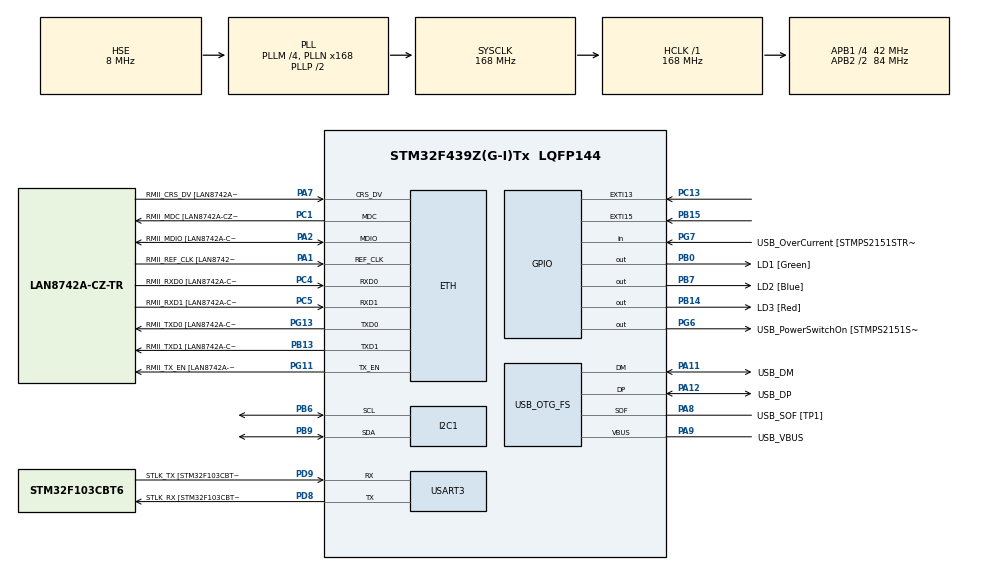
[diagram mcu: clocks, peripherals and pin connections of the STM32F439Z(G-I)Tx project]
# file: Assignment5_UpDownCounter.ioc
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ETH.MediaInterface=HAL_ETH_RMII_MODE
ETH.PHY_Name=LAN8742A_PHY_ADDRESS
ETH.PHY_Value=0
ETH.PhyAddress=0
Mcu.Family=STM32F4
Mcu.Name=STM32F439Z(G-I)Tx
Mcu.Package=LQFP144
NVIC.EXTI15_10_IRQn=true\:0\:0\:false\:false\:true\:true\:true\:true
NVIC.PriorityGroup=NVIC_PRIORITYGROUP_4
NVIC.TIM2_IRQn=true\:0\:0\:false\:false\:true\:true\:true\:true
PA1.GPIO_Label=RMII_REF_CLK [LAN8742A-CZ-TR_REFCLK0]
PA1.Mode=RMII
PA1.Signal=ETH_REF_CLK
PA10.GPIO_Label=USB_ID
PA10.Signal=USB_OTG_FS_ID
PA11.GPIO_Label=USB_DM
PA11.Mode=Device_Only
PA11.Signal=USB_OTG_FS_DM
PA12.GPIO_Label=USB_DP
PA12.Mode=Device_Only
PA12.Signal=USB_OTG_FS_DP
PA13.GPIO_Label=TMS
PA13.Mode=Serial_Wire
PA13.Signal=SYS_JTMS-SWDIO
PA14.GPIO_Label=TCK
PA14.Mode=Serial_Wire
PA14.Signal=SYS_JTCK-SWCLK
PA2.GPIO_Label=RMII_MDIO [LAN8742A-CZ-TR_MDIO]
PA2.Mode=RMII
PA2.Signal=ETH_MDIO
PA7.GPIO_Label=RMII_CRS_DV [LAN8742A-CZ-TR_CRS_DV]
PA7.Mode=RMII
PA7.Signal=ETH_CRS_DV
PA8.GPIO_Label=USB_SOF [TP1]
PA8.Mode=Activate_SOF_FS
PA8.Signal=USB_OTG_FS_SOF
PA9.GPIO_Label=USB_VBUS
PA9.Mode=Activate_VBUS
PA9.Signal=USB_OTG_FS_VBUS
PB0.GPIO_Label=LD1 [Green]
PB0.Signal=GPIO_Output
PB13.GPIO_Label=RMII_TXD1 [LAN8742A-CZ-TR_TXD1]
PB13.Mode=RMII
PB13.Signal=ETH_TXD1
PB14.GPIO_Label=LD3 [Red]
PB14.Signal=GPIO_Output
PB15.Signal=GPXTI15
PB6.Mode=I2C
PB6.Signal=I2C1_SCL
PB7.GPIO_Label=LD2 [Blue]
PB7.Signal=GPIO_Output
PB9.Mode=I2C
PB9.Signal=I2C1_SDA
PC1.GPIO_Label=RMII_MDC [LAN8742A-CZ-TR_MDC]
PC1.Mode=RMII
PC1.Signal=ETH_MDC
PC13.Signal=GPXTI13
PC14/OSC32_IN.Mode=LSE-External-Oscillator
PC14/OSC32_IN.Signal=RCC_OSC32_IN
PC15/OSC32_OUT.Mode=LSE-External-Oscillator
PC15/OSC32_OUT.Signal=RCC_OSC32_OUT
PC4.GPIO_Label=RMII_RXD0 [LAN8742A-CZ-TR_RXD0]
PC4.Mode=RMII
PC4.Signal=ETH_RXD0
PC5.GPIO_Label=RMII_RXD1 [LAN8742A-CZ-TR_RXD1]
PC5.Mode=RMII
PC5.Signal=ETH_RXD1
PD8.GPIO_Label=STLK_RX [STM32F103CBT6_PA3]
PD8.Mode=Asynchronous
PD8.Signal=USART3_TX
PD9.GPIO_Label=STLK_TX [STM32F103CBT6_PA2]
PD9.Mode=Asynchronous
PD9.Signal=USART3_RX
PG11.GPIO_Label=RMII_TX_EN [LAN8742A-CZ-TR_TXEN]
PG11.Mode=RMII
PG11.Signal=ETH_TX_EN
PG13.GPIO_Label=RMII_TXD0 [LAN8742A-CZ-TR_TXD0]
PG13.Mode=RMII
PG13.Signal=ETH_TXD0
PG6.GPIO_Label=USB_PowerSwitchOn [STMPS2151STR_EN]
PG6.Signal=GPIO_Output
PG7.GPIO_Label=USB_OverCurrent [STMPS2151STR_FAULT]
PG7.Signal=GPIO_Input
PH0/OSC_IN.GPIO_Label=MCO [STM32F103CBT6_PA8]
PH0/OSC_IN.Mode=HSE-External-Clock-Source
PH0/OSC_IN.Signal=RCC_OSC_IN
PH1/OSC_OUT.Mode=HSE-External-Clock-Source
PH1/OSC_OUT.Signal=RCC_OSC_OUT
ProjectManager.HeapSize=0x200
ProjectManager.StackSize=0x400
ProjectManager.TargetToolchain=STM32CubeIDE
RCC.48MHZClocksFreq_Value=48000000
RCC.AHBFreq_Value=168000000
RCC.APB1CLKDivider=RCC_HCLK_DIV4
RCC.APB1Freq_Value=42000000
RCC.APB1TimFreq_Value=84000000
RCC.APB2CLKDivider=RCC_HCLK_DIV2
RCC.APB2Freq_Value=84000000
RCC.APB2TimCLKDivider=2
RCC.APB2TimFreq_Value=168000000
RCC.CortexFreq_Value=168000000
RCC.HCLKFreq_Value=168000000
RCC.HSE_VALUE=8000000
RCC.HSI_VALUE=16000000
RCC.PLLM=4
RCC.PLLMUL=RCC_PLL_MUL9
RCC.PLLN=168
RCC.PLLQ=7
RCC.PRESCALERUSB=RCC_USBCLKSOURCE_PLL_DIV1_5
RCC.SYSCLKFreq_VALUE=168000000
RCC.SYSCLKSource=RCC_SYSCLKSOURCE_PLLCLK
RCC.SYSCLKSourceVirtual=RCC_SYSCLKSOURCE_PLLCLK
RCC.USBFreq_Value=48000000
RCC.VCOOutputFreq_Value=336000000
TIM2.Period=10000-1
TIM2.Prescaler=8400-1
USART3.VirtualMode=VM_ASYNC
USB_OTG_FS.VirtualMode=Device_Only
VP_TIM2_VS_ClockSourceINT.Mode=Internal
board=NUCLEO-F439ZI

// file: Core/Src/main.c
/* USER CODE BEGIN Header */
/**
  ******************************************************************************
  * @file           : main.c
  * @brief          : Main program body
  ******************************************************************************
  * @attention
  *
  * Copyright (c) 2025 STMicroelectronics.
  * All rights reserved.
  *
  * This software is licensed under terms that can be found in the LICENSE file
  * in the root directory of this software component.
  * If no LICENSE file comes with this software, it is provided AS-IS.
  *
  ******************************************************************************
  */
/* USER CODE END Header */
#include "main.h"
#include "string.h"

/* USER CODE BEGIN Includes */
#include "i2c-lcd.h"
/* USER CODE END Includes */

ETH_TxPacketConfig TxConfig;
ETH_DMADescTypeDef  DMARxDscrTab[ETH_RX_DESC_CNT]; /* Ethernet Rx DMA Descriptors */
ETH_DMADescTypeDef  DMATxDscrTab[ETH_TX_DESC_CNT]; /* Ethernet Tx DMA Descriptors */

ETH_HandleTypeDef heth;

I2C_HandleTypeDef hi2c1;

TIM_HandleTypeDef htim2;

UART_HandleTypeDef huart3;

PCD_HandleTypeDef hpcd_USB_OTG_FS;

/* USER CODE BEGIN PV */
int counter = -1;
int mode_state = 0; // 0 - up-counter; 1 - down-counter; 2 - idle; PB15
int speed_button=0; // On-board button PC13
int speed[4] ={10000,5000,2000,1000};
char speed_name[4][7] = {"Slow  ", "Medium", "Fast  ", "Turbo "};
int i = 0;
int previous_time = 0;
int current_time;
int debounce_time = 200;
char time_array[11];
/* USER CODE END PV */

void SystemClock_Config(void);
static void MX_GPIO_Init(void);
static void MX_ETH_Init(void);
static void MX_USART3_UART_Init(void);
static void MX_USB_OTG_FS_PCD_Init(void);
static void MX_TIM2_Init(void);
static void MX_I2C1_Init(void);

/* USER CODE BEGIN 0 */
void display_counter(void){

lcd_put_cur(0, 0);
sprintf(time_array, "Count: %03d" , counter);
lcd_send_string(time_array);

lcd_put_cur(1, 0);
if(mode_state == 0){
	lcd_send_string("Up  ");
}

lcd_put_cur(1, 0);
if(mode_state == 1){
	lcd_send_string("Down");
}

lcd_put_cur(1, 0);
if(mode_state == 2){
	lcd_send_string("Idle");
}

lcd_put_cur(1, 10);
lcd_send_string(speed_name[i]);

}
/* USER CODE END 0 */

int main(void)
{

  /* MCU Configuration--------------------------------------------------------*/

  /* Reset of all peripherals, Initializes the Flash interface and the Systick. */
  HAL_Init();

  /* Configure the system clock */
  SystemClock_Config();

  /* Initialize all configured peripherals */
  MX_GPIO_Init();
  MX_ETH_Init();
  MX_USART3_UART_Init();
  MX_USB_OTG_FS_PCD_Init();
  MX_TIM2_Init();
  MX_I2C1_Init();
  /* USER CODE BEGIN 2 */
  HAL_TIM_Base_Start_IT(&htim2);
  lcd_init();
  lcd_clear();
  /* USER CODE END 2 */

  /* Infinite loop */
  while (1)
  {
	  display_counter();
  }
}

void SystemClock_Config(void)
{
  RCC_OscInitTypeDef RCC_OscInitStruct = {0};
  RCC_ClkInitTypeDef RCC_ClkInitStruct = {0};

  /** Configure the main internal regulator output voltage
  */
  __HAL_RCC_PWR_CLK_ENABLE();
  __HAL_PWR_VOLTAGESCALING_CONFIG(PWR_REGULATOR_VOLTAGE_SCALE1);

  /** Initializes the RCC Oscillators according to the specified parameters
  * in the RCC_OscInitTypeDef structure.
  */
  RCC_OscInitStruct.OscillatorType = RCC_OSCILLATORTYPE_HSE;
  RCC_OscInitStruct.HSEState = RCC_HSE_BYPASS;
  RCC_OscInitStruct.PLL.PLLState = RCC_PLL_ON;
  RCC_OscInitStruct.PLL.PLLSource = RCC_PLLSOURCE_HSE;
  RCC_OscInitStruct.PLL.PLLM = 4;
  RCC_OscInitStruct.PLL.PLLN = 168;
  RCC_OscInitStruct.PLL.PLLP = RCC_PLLP_DIV2;
  RCC_OscInitStruct.PLL.PLLQ = 7;
  if (HAL_RCC_OscConfig(&RCC_OscInitStruct) != HAL_OK)
  {
    Error_Handler();
  }

  /** Initializes the CPU, AHB and APB buses clocks
  */
  RCC_ClkInitStruct.ClockType = RCC_CLOCKTYPE_HCLK|RCC_CLOCKTYPE_SYSCLK
                              |RCC_CLOCKTYPE_PCLK1|RCC_CLOCKTYPE_PCLK2;
  RCC_ClkInitStruct.SYSCLKSource = RCC_SYSCLKSOURCE_PLLCLK;
  RCC_ClkInitStruct.AHBCLKDivider = RCC_SYSCLK_DIV1;
  RCC_ClkInitStruct.APB1CLKDivider = RCC_HCLK_DIV4;
  RCC_ClkInitStruct.APB2CLKDivider = RCC_HCLK_DIV2;

  if (HAL_RCC_ClockConfig(&RCC_ClkInitStruct, FLASH_LATENCY_5) != HAL_OK)
  {
    Error_Handler();
  }
}

static void MX_ETH_Init(void)
{

   static uint8_t MACAddr[6];

  heth.Instance = ETH;
  MACAddr[0] = 0x00;
  MACAddr[1] = 0x80;
  MACAddr[2] = 0xE1;
  MACAddr[3] = 0x00;
  MACAddr[4] = 0x00;
  MACAddr[5] = 0x00;
  heth.Init.MACAddr = &MACAddr[0];
  heth.Init.MediaInterface = HAL_ETH_RMII_MODE;
  heth.Init.TxDesc = DMATxDscrTab;
  heth.Init.RxDesc = DMARxDscrTab;
  heth.Init.RxBuffLen = 1524;

  if (HAL_ETH_Init(&heth) != HAL_OK)
  {
    Error_Handler();
  }

  memset(&TxConfig, 0 , sizeof(ETH_TxPacketConfig));
  TxConfig.Attributes = ETH_TX_PACKETS_FEATURES_CSUM | ETH_TX_PACKETS_FEATURES_CRCPAD;
  TxConfig.ChecksumCtrl = ETH_CHECKSUM_IPHDR_PAYLOAD_INSERT_PHDR_CALC;
  TxConfig.CRCPadCtrl = ETH_CRC_PAD_INSERT;

}

static void MX_I2C1_Init(void)
{

  hi2c1.Instance = I2C1;
  hi2c1.Init.ClockSpeed = 100000;
  hi2c1.Init.DutyCycle = I2C_DUTYCYCLE_2;
  hi2c1.Init.OwnAddress1 = 0;
  hi2c1.Init.AddressingMode = I2C_ADDRESSINGMODE_7BIT;
  hi2c1.Init.DualAddressMode = I2C_DUALADDRESS_DISABLE;
  hi2c1.Init.OwnAddress2 = 0;
  hi2c1.Init.GeneralCallMode = I2C_GENERALCALL_DISABLE;
  hi2c1.Init.NoStretchMode = I2C_NOSTRETCH_DISABLE;
  if (HAL_I2C_Init(&hi2c1) != HAL_OK)
  {
    Error_Handler();
  }

  /** Configure Analogue filter
  */
  if (HAL_I2CEx_ConfigAnalogFilter(&hi2c1, I2C_ANALOGFILTER_ENABLE) != HAL_OK)
  {
    Error_Handler();
  }

  /** Configure Digital filter
  */
  if (HAL_I2CEx_ConfigDigitalFilter(&hi2c1, 0) != HAL_OK)
  {
    Error_Handler();
  }

}

static void MX_TIM2_Init(void)
{

  TIM_ClockConfigTypeDef sClockSourceConfig = {0};
  TIM_MasterConfigTypeDef sMasterConfig = {0};

  htim2.Instance = TIM2;
  htim2.Init.Prescaler = 8400-1;
  htim2.Init.CounterMode = TIM_COUNTERMODE_UP;
  htim2.Init.Period = 10000-1;
  htim2.Init.ClockDivision = TIM_CLOCKDIVISION_DIV1;
  htim2.Init.AutoReloadPreload = TIM_AUTORELOAD_PRELOAD_DISABLE;
  if (HAL_TIM_Base_Init(&htim2) != HAL_OK)
  {
    Error_Handler();
  }
  sClockSourceConfig.ClockSource = TIM_CLOCKSOURCE_INTERNAL;
  if (HAL_TIM_ConfigClockSource(&htim2, &sClockSourceConfig) != HAL_OK)
  {
    Error_Handler();
  }
  sMasterConfig.MasterOutputTrigger = TIM_TRGO_RESET;
  sMasterConfig.MasterSlaveMode = TIM_MASTERSLAVEMODE_DISABLE;
  if (HAL_TIMEx_MasterConfigSynchronization(&htim2, &sMasterConfig) != HAL_OK)
  {
    Error_Handler();
  }

}

static void MX_USART3_UART_Init(void)
{

  huart3.Instance = USART3;
  huart3.Init.BaudRate = 115200;
  huart3.Init.WordLength = UART_WORDLENGTH_8B;
  huart3.Init.StopBits = UART_STOPBITS_1;
  huart3.Init.Parity = UART_PARITY_NONE;
  huart3.Init.Mode = UART_MODE_TX_RX;
  huart3.Init.HwFlowCtl = UART_HWCONTROL_NONE;
  huart3.Init.OverSampling = UART_OVERSAMPLING_16;
  if (HAL_UART_Init(&huart3) != HAL_OK)
  {
    Error_Handler();
  }

}

static void MX_USB_OTG_FS_PCD_Init(void)
{

  hpcd_USB_OTG_FS.Instance = USB_OTG_FS;
  hpcd_USB_OTG_FS.Init.dev_endpoints = 4;
  hpcd_USB_OTG_FS.Init.speed = PCD_SPEED_FULL;
  hpcd_USB_OTG_FS.Init.dma_enable = DISABLE;
  hpcd_USB_OTG_FS.Init.phy_itface = PCD_PHY_EMBEDDED;
  hpcd_USB_OTG_FS.Init.Sof_enable = ENABLE;
  hpcd_USB_OTG_FS.Init.low_power_enable = DISABLE;
  hpcd_USB_OTG_FS.Init.lpm_enable = DISABLE;
  hpcd_USB_OTG_FS.Init.vbus_sensing_enable = ENABLE;
  hpcd_USB_OTG_FS.Init.use_dedicated_ep1 = DISABLE;
  if (HAL_PCD_Init(&hpcd_USB_OTG_FS) != HAL_OK)
  {
    Error_Handler();
  }

}

static void MX_GPIO_Init(void)
{
  GPIO_InitTypeDef GPIO_InitStruct = {0};

  /* GPIO Ports Clock Enable */
  __HAL_RCC_GPIOC_CLK_ENABLE();
  __HAL_RCC_GPIOH_CLK_ENABLE();
  __HAL_RCC_GPIOA_CLK_ENABLE();
  __HAL_RCC_GPIOB_CLK_ENABLE();
  __HAL_RCC_GPIOD_CLK_ENABLE();
  __HAL_RCC_GPIOG_CLK_ENABLE();

  /*Configure GPIO pin Output Level */
  HAL_GPIO_WritePin(GPIOB, LD1_Pin|LD3_Pin|LD2_Pin, GPIO_PIN_RESET);

  /*Configure GPIO pin Output Level */
  HAL_GPIO_WritePin(USB_PowerSwitchOn_GPIO_Port, USB_PowerSwitchOn_Pin, GPIO_PIN_RESET);

  /*Configure GPIO pin : PC13 */
  GPIO_InitStruct.Pin = GPIO_PIN_13;
  GPIO_InitStruct.Mode = GPIO_MODE_IT_RISING;
  GPIO_InitStruct.Pull = GPIO_NOPULL;
  HAL_GPIO_Init(GPIOC, &GPIO_InitStruct);

  /*Configure GPIO pins : LD1_Pin LD3_Pin LD2_Pin */
  GPIO_InitStruct.Pin = LD1_Pin|LD3_Pin|LD2_Pin;
  GPIO_InitStruct.Mode = GPIO_MODE_OUTPUT_PP;
  GPIO_InitStruct.Pull = GPIO_NOPULL;
  GPIO_InitStruct.Speed = GPIO_SPEED_FREQ_LOW;
  HAL_GPIO_Init(GPIOB, &GPIO_InitStruct);

  /*Configure GPIO pin : PB15 */
  GPIO_InitStruct.Pin = GPIO_PIN_15;
  GPIO_InitStruct.Mode = GPIO_MODE_IT_RISING;
  GPIO_InitStruct.Pull = GPIO_NOPULL;
  HAL_GPIO_Init(GPIOB, &GPIO_InitStruct);

  /*Configure GPIO pin : USB_PowerSwitchOn_Pin */
  GPIO_InitStruct.Pin = USB_PowerSwitchOn_Pin;
  GPIO_InitStruct.Mode = GPIO_MODE_OUTPUT_PP;
  GPIO_InitStruct.Pull = GPIO_NOPULL;
  GPIO_InitStruct.Speed = GPIO_SPEED_FREQ_LOW;
  HAL_GPIO_Init(USB_PowerSwitchOn_GPIO_Port, &GPIO_InitStruct);

  /*Configure GPIO pin : USB_OverCurrent_Pin */
  GPIO_InitStruct.Pin = USB_OverCurrent_Pin;
  GPIO_InitStruct.Mode = GPIO_MODE_INPUT;
  GPIO_InitStruct.Pull = GPIO_NOPULL;
  HAL_GPIO_Init(USB_OverCurrent_GPIO_Port, &GPIO_InitStruct);

  /* EXTI interrupt init*/
  HAL_NVIC_SetPriority(EXTI15_10_IRQn, 0, 0);
  HAL_NVIC_EnableIRQ(EXTI15_10_IRQn);

}

/* USER CODE BEGIN 4 */

void HAL_GPIO_EXTI_Callback(uint16_t GPIO_Pin)
{
/* Prevent unused argument(s) compilation warning */
UNUSED(GPIO_Pin);
/* NOTE: This function Should not be modified, when the callback is
needed,
the HAL_GPIO_EXTI_Callback could be implemented in the user
file
*/
// PIN 15 for mode
// PIN 13 (user_button) for speed selection
current_time = HAL_GetTick();
// user button to change speed
if (GPIO_Pin == GPIO_PIN_13 && (current_time - previous_time > debounce_time)
){
	i=(i+1)%4;
	__HAL_TIM_SET_AUTORELOAD(&htim2, speed[i]-1);
	TIM2->CNT = 0; // Reset counter
	TIM2->EGR |= TIM_EGR_UG; // Force update
	TIM2->CR1 |= TIM_CR1_CEN; // Restart Timerprevioustime=currenttime;
}
// external button to change the mode
if (GPIO_Pin == GPIO_PIN_15 && (current_time - previous_time > debounce_time) ){

	mode_state = (mode_state+1)%3;

}
	previous_time = current_time;
}

void HAL_TIM_PeriodElapsedCallback(TIM_HandleTypeDef *htim)
{
/* Prevent unused argument(s) compilation warning */
UNUSED(htim);
if (htim->Instance==TIM2){
	if(mode_state == 0){
		counter = (counter+1)%1000;
	}
	if(mode_state == 1){
		if(counter == 0){
			counter = 1000;
		}
		counter = (counter-1)%1000;
	}
	if(mode_state == 2){
		counter = counter;
	}

}
}
/* USER CODE END 4 */

void Error_Handler(void)
{
  __disable_irq();
  while (1)
  {
  }
}
